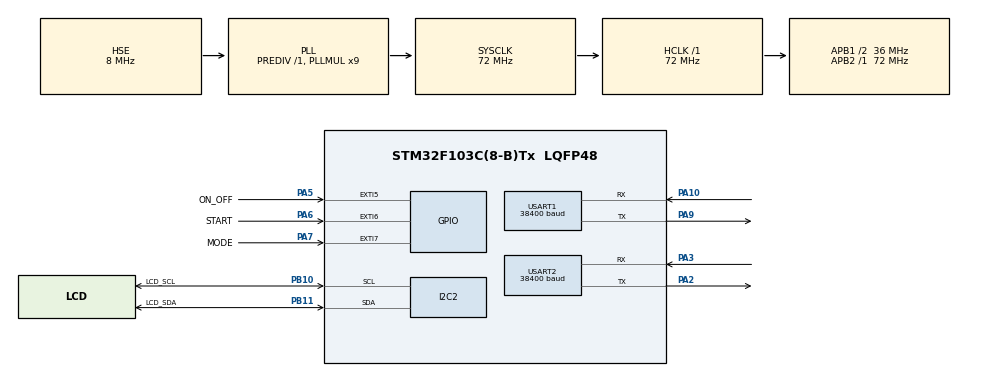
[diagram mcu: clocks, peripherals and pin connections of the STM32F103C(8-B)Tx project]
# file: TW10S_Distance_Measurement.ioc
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Mcu.Family=STM32F1
Mcu.Name=STM32F103C(8-B)Tx
Mcu.Package=LQFP48
NVIC.EXTI9_5_IRQn=true\:1\:0\:true\:false\:true\:true\:true
NVIC.PriorityGroup=NVIC_PRIORITYGROUP_4
NVIC.USART1_IRQn=true\:1\:0\:true\:false\:true\:true\:true
PA10.Mode=Asynchronous
PA10.Signal=USART1_RX
PA13.Mode=Serial_Wire
PA13.Signal=SYS_JTMS-SWDIO
PA14.Mode=Serial_Wire
PA14.Signal=SYS_JTCK-SWCLK
PA2.Mode=Asynchronous
PA2.Signal=USART2_TX
PA3.Mode=Asynchronous
PA3.Signal=USART2_RX
PA5.GPIO_Label=ON_OFF
PA5.GPIO_ModeDefaultEXTI=GPIO_MODE_IT_FALLING
PA5.GPIO_PuPd=GPIO_PULLUP
PA5.Signal=GPXTI5
PA6.GPIO_Label=START
PA6.GPIO_ModeDefaultEXTI=GPIO_MODE_IT_FALLING
PA6.GPIO_PuPd=GPIO_PULLUP
PA6.Signal=GPXTI6
PA7.GPIO_Label=MODE
PA7.GPIO_ModeDefaultEXTI=GPIO_MODE_IT_FALLING
PA7.GPIO_PuPd=GPIO_PULLUP
PA7.Signal=GPXTI7
PA9.Mode=Asynchronous
PA9.Signal=USART1_TX
PB10.GPIO_Label=LCD_SCL
PB10.Mode=I2C
PB10.Signal=I2C2_SCL
PB11.GPIO_Label=LCD_SDA
PB11.Mode=I2C
PB11.Signal=I2C2_SDA
PD0-OSC_IN.Mode=HSE-External-Oscillator
PD0-OSC_IN.Signal=RCC_OSC_IN
PD1-OSC_OUT.Mode=HSE-External-Oscillator
PD1-OSC_OUT.Signal=RCC_OSC_OUT
ProjectManager.HeapSize=0x200
ProjectManager.StackSize=0x400
ProjectManager.TargetToolchain=STM32CubeIDE
RCC.AHBFreq_Value=72000000
RCC.APB1CLKDivider=RCC_HCLK_DIV2
RCC.APB1Freq_Value=36000000
RCC.APB1TimFreq_Value=72000000
RCC.APB2Freq_Value=72000000
RCC.APB2TimFreq_Value=72000000
RCC.HCLKFreq_Value=72000000
RCC.PLLMUL=RCC_PLL_MUL9
RCC.PLLSourceVirtual=RCC_PLLSOURCE_HSE
RCC.SYSCLKFreq_VALUE=72000000
RCC.SYSCLKSource=RCC_SYSCLKSOURCE_PLLCLK
RCC.USBFreq_Value=72000000
USART1.BaudRate=38400
USART1.VirtualMode=VM_ASYNC
USART2.BaudRate=38400
USART2.VirtualMode=VM_ASYNC
board=custom

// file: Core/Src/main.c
/* USER CODE BEGIN Header */
/**
  ******************************************************************************
  * @file           : main.c
  * @brief          : Main program body
  ******************************************************************************
  * @attention
  *
  * <h2><center>&copy; Copyright (c) 2021 STMicroelectronics.
  * All rights reserved.</center></h2>
  *
  * This software component is licensed by ST under BSD 3-Clause license,
  * the "License"; You may not use this file except in compliance with the
  * License. You may obtain a copy of the License at:
  *                        opensource.org/licenses/BSD-3-Clause
  *
  ******************************************************************************
  */
/* USER CODE END Header */
#include "main.h"

/* USER CODE BEGIN Includes */
#include "ST47_TW10S.h"
#include "ST47_LCD_I2C.h"
//#include "lcd16x2_i2c.h"
/* USER CODE END Includes */

I2C_HandleTypeDef hi2c2;

UART_HandleTypeDef huart1;
UART_HandleTypeDef huart2;

void SystemClock_Config(void);
static void MX_GPIO_Init(void);
static void MX_USART1_UART_Init(void);
static void MX_USART2_UART_Init(void);
static void MX_I2C2_Init(void);

/* USER CODE BEGIN 0 */
extern TW10S_Struct tw10s;

void TW10S_init()
{
	stopMeasure();
	HAL_Delay(300);
	laserOn();
	HAL_Delay(300);
	setOffset(-10);
	HAL_Delay(300);
	setRange(40000);
	HAL_Delay(300);
	setBaudrate(38400);
	HAL_Delay(300);
	setMode(SINGLE_MODE);
	LCD_init();
	HAL_Delay(200);
	LCD_clearDisplay();
	HAL_Delay(200);
	LCD_setCursor(1, 0);
	HAL_Delay(200);
	LCD_print("GHTK");
	HAL_Delay(1000);
	LCD_setCursor(2, 0);
	HAL_Delay(1000);
	LCD_print("Distance Measure");
	HAL_Delay(200);
}

float distance;
uint8_t measure_mode;

//void HAL_GPIO_EXTI_Callback(uint16_t GPIO_Pin)
//{
//	switch(GPIO_Pin)
//	{
//	case ON_OFF_Pin:
//		if(tw10s.laser == 1) laserOff();
//		else laserOn();
//		break;
//	case START_Pin:
//		if(tw10s.mode == SINGLE_MODE)				measure_mode = 1;
//		else if(tw10s.mode == CONTINOUS_MODE) 		measure_mode = 2;
//		else if(tw10s.mode == FAST_MODE) 			measure_mode = 3;
//		break;
//	case MODE_Pin:
//		if(tw10s.mode == SINGLE_MODE) 				tw10s.mode = CONTINOUS_MODE;
//		else if(tw10s.mode == CONTINOUS_MODE) 		tw10s.mode = FAST_MODE;
//		else if(tw10s.mode == FAST_MODE) 			tw10s.mode = SINGLE_MODE;
//		break;
//	}
//}
/* USER CODE END 0 */

int main(void)
{

  /* MCU Configuration--------------------------------------------------------*/

  /* Reset of all peripherals, Initializes the Flash interface and the Systick. */
  HAL_Init();

  /* Configure the system clock */
  SystemClock_Config();

  /* Initialize all configured peripherals */
  MX_GPIO_Init();
  MX_USART1_UART_Init();
  MX_USART2_UART_Init();
  MX_I2C2_Init();

  /* USER CODE BEGIN 2 */

  	TW10S_init();

  /* USER CODE END 2 */

  /* Infinite loop */
  while (1)
  {

    /* USER CODE BEGIN 3 */
//	  switch(measure_mode)
//	  {
//	  case 1:
//		  distance = getDistance();
//		  measure_mode = 0;
//		  break;
//	  case 2:
//		  distance = getDistance();
//		  break;
//	  case 3:
//		  distance = getDistance();
//		  break;
//	  }
//	  LCD_clearDisplay();
//	  HAL_Delay(100);
	  LCD_setCursor(0, 1);
	  HAL_Delay(100);
	  TW10S_sendCommand("iSM", "", 1000);
	  LCD_print((char*)tw10s.buffer);
	  HAL_Delay(200);

  }
  /* USER CODE END 3 */
}

void SystemClock_Config(void)
{
  RCC_OscInitTypeDef RCC_OscInitStruct = {0};
  RCC_ClkInitTypeDef RCC_ClkInitStruct = {0};

  /** Initializes the RCC Oscillators according to the specified parameters
  * in the RCC_OscInitTypeDef structure.
  */
  RCC_OscInitStruct.OscillatorType = RCC_OSCILLATORTYPE_HSE;
  RCC_OscInitStruct.HSEState = RCC_HSE_ON;
  RCC_OscInitStruct.HSEPredivValue = RCC_HSE_PREDIV_DIV1;
  RCC_OscInitStruct.HSIState = RCC_HSI_ON;
  RCC_OscInitStruct.PLL.PLLState = RCC_PLL_ON;
  RCC_OscInitStruct.PLL.PLLSource = RCC_PLLSOURCE_HSE;
  RCC_OscInitStruct.PLL.PLLMUL = RCC_PLL_MUL9;
  if (HAL_RCC_OscConfig(&RCC_OscInitStruct) != HAL_OK)
  {
    Error_Handler();
  }
  /** Initializes the CPU, AHB and APB buses clocks
  */
  RCC_ClkInitStruct.ClockType = RCC_CLOCKTYPE_HCLK|RCC_CLOCKTYPE_SYSCLK
                              |RCC_CLOCKTYPE_PCLK1|RCC_CLOCKTYPE_PCLK2;
  RCC_ClkInitStruct.SYSCLKSource = RCC_SYSCLKSOURCE_PLLCLK;
  RCC_ClkInitStruct.AHBCLKDivider = RCC_SYSCLK_DIV1;
  RCC_ClkInitStruct.APB1CLKDivider = RCC_HCLK_DIV2;
  RCC_ClkInitStruct.APB2CLKDivider = RCC_HCLK_DIV1;

  if (HAL_RCC_ClockConfig(&RCC_ClkInitStruct, FLASH_LATENCY_2) != HAL_OK)
  {
    Error_Handler();
  }
}

static void MX_I2C2_Init(void)
{

  hi2c2.Instance = I2C2;
  hi2c2.Init.ClockSpeed = 100000;
  hi2c2.Init.DutyCycle = I2C_DUTYCYCLE_2;
  hi2c2.Init.OwnAddress1 = 0;
  hi2c2.Init.AddressingMode = I2C_ADDRESSINGMODE_7BIT;
  hi2c2.Init.DualAddressMode = I2C_DUALADDRESS_DISABLE;
  hi2c2.Init.OwnAddress2 = 0;
  hi2c2.Init.GeneralCallMode = I2C_GENERALCALL_DISABLE;
  hi2c2.Init.NoStretchMode = I2C_NOSTRETCH_DISABLE;
  if (HAL_I2C_Init(&hi2c2) != HAL_OK)
  {
    Error_Handler();
  }

}

static void MX_USART1_UART_Init(void)
{

  huart1.Instance = USART1;
  huart1.Init.BaudRate = 38400;
  huart1.Init.WordLength = UART_WORDLENGTH_8B;
  huart1.Init.StopBits = UART_STOPBITS_1;
  huart1.Init.Parity = UART_PARITY_NONE;
  huart1.Init.Mode = UART_MODE_TX_RX;
  huart1.Init.HwFlowCtl = UART_HWCONTROL_NONE;
  huart1.Init.OverSampling = UART_OVERSAMPLING_16;
  if (HAL_UART_Init(&huart1) != HAL_OK)
  {
    Error_Handler();
  }

}

static void MX_USART2_UART_Init(void)
{

  huart2.Instance = USART2;
  huart2.Init.BaudRate = 38400;
  huart2.Init.WordLength = UART_WORDLENGTH_8B;
  huart2.Init.StopBits = UART_STOPBITS_1;
  huart2.Init.Parity = UART_PARITY_NONE;
  huart2.Init.Mode = UART_MODE_TX_RX;
  huart2.Init.HwFlowCtl = UART_HWCONTROL_NONE;
  huart2.Init.OverSampling = UART_OVERSAMPLING_16;
  if (HAL_UART_Init(&huart2) != HAL_OK)
  {
    Error_Handler();
  }

}

static void MX_GPIO_Init(void)
{
  GPIO_InitTypeDef GPIO_InitStruct = {0};

  /* GPIO Ports Clock Enable */
  __HAL_RCC_GPIOD_CLK_ENABLE();
  __HAL_RCC_GPIOA_CLK_ENABLE();
  __HAL_RCC_GPIOB_CLK_ENABLE();

  /*Configure GPIO pins : ON_OFF_Pin START_Pin MODE_Pin */
  GPIO_InitStruct.Pin = ON_OFF_Pin|START_Pin|MODE_Pin;
  GPIO_InitStruct.Mode = GPIO_MODE_IT_FALLING;
  GPIO_InitStruct.Pull = GPIO_PULLUP;
  HAL_GPIO_Init(GPIOA, &GPIO_InitStruct);

  /* EXTI interrupt init*/
  HAL_NVIC_SetPriority(EXTI9_5_IRQn, 1, 0);
  HAL_NVIC_EnableIRQ(EXTI9_5_IRQn);

}

void Error_Handler(void)
{
  __disable_irq();
  while (1)
  {
  }
}

/************************ (C) COPYRIGHT STMicroelectronics *****END OF FILE****/
